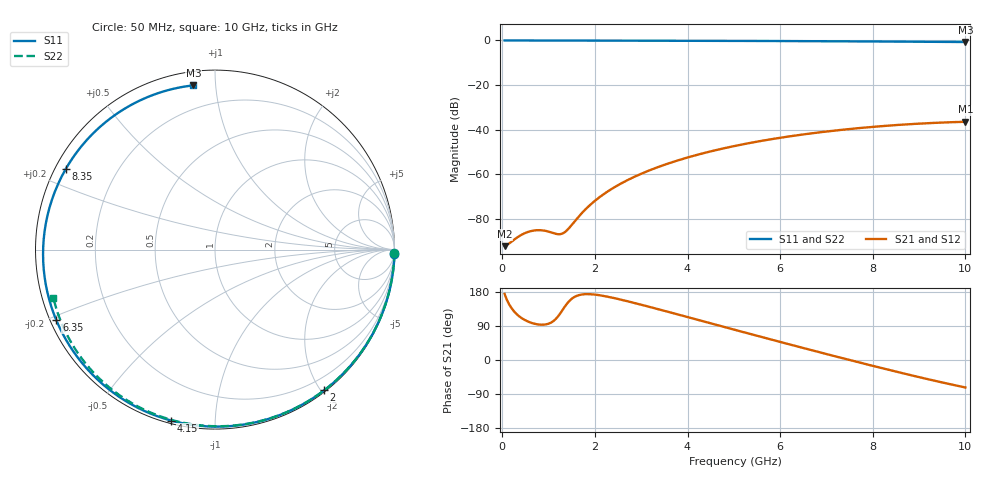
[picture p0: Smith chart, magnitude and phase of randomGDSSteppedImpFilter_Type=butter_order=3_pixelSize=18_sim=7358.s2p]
! freq	dB(S11)	phase(S11)	dB(S12)	phase(S12)
!  dB(S21)	phase(S21)	dB(S22)	phase(S22)
!S-par simulation data
#  GHz  S  DB  R 50
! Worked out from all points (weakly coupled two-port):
!   200 points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, 50 MHz to 10 GHz, reference 50 ohm
!   highest |S21| = -36.41 dB at 10 GHz (marker M1); lowest = -92.1 dB at 50 MHz (marker M2)
!   lowest |S11| = -0.7 dB at 10 GHz (marker M3), VSWR 24.92, Z = 3.55 + j43.7 ohm
!   |S11| at or under -10 dB: nowhere
!   |S22| runs from -0.5 to 0.0 dB; largest |S21 - S12| = 0
!   S11 on the Smith chart (normalised r, x): 50 MHz: 0, -86; 2 GHz: 0.02, -2.04; 4.15 GHz: 0.01, -0.78; 6.35 GHz: 0.02, -0.21; 8.35 GHz: 0.03, +0.25; 10 GHz: 0.07, +0.87
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0.05  -0.00 -1.3  -92.11 174.3  -92.11 174.3  -0.00 -1.0
0.8  -0.02 -21.3  -84.94 93.4  -84.94 93.4  -0.02 -15.2
1.6  -0.05 -42.0  -80.07 168.9  -80.07 168.9  -0.04 -30.1
1.75  -0.06 -45.9  -76.59 173.3  -76.59 173.3  -0.04 -32.9
2  -0.07 -52.2  -71.80 172.6  -71.80 172.6  -0.05 -37.5
2.3  -0.08 -59.7  -67.28 166.4  -67.28 166.4  -0.06 -42.9
2.6  -0.09 -67.2  -63.64 158.1  -63.64 158.1  -0.06 -48.3
2.95  -0.10 -75.8  -60.13 147.4  -60.13 147.4  -0.07 -54.5
3.4  -0.11 -86.6  -56.42 133.0  -56.42 133.0  -0.08 -62.3
4.15  -0.15 -104.4  -51.54 108.4  -51.54 108.4  -0.11 -74.9
5.05  -0.19 -125.4  -47.11 78.7  -47.11 78.7  -0.14 -89.5
5.7  -0.24 -140.5  -44.59 57.4  -44.59 57.4  -0.17 -99.7
6.35  -0.29 -156.0  -42.50 36.4  -42.50 36.4  -0.20 -109.7
6.7  -0.32 -164.5  -41.53 25.2  -41.53 25.2  -0.22 -114.9
7.15  -0.36 -175.8  -40.42 11.0  -40.42 11.0  -0.25 -121.6
7.55  -0.40 173.8  -39.55 -1.6  -39.55 -1.6  -0.29 -127.5
7.95  -0.45 162.9  -38.78 -13.9  -38.78 -13.9  -0.32 -133.3
8.35  -0.49 151.5  -38.11 -26.1  -38.11 -26.1  -0.35 -139.1
8.8  -0.55 137.9  -37.48 -39.4  -37.48 -39.4  -0.40 -145.7
9.25  -0.60 123.5  -36.98 -52.3  -36.98 -52.3  -0.45 -152.3
9.65  -0.65 109.9  -36.64 -63.3  -36.64 -63.3  -0.50 -158.2
10  -0.70 97.5  -36.41 -72.5  -36.41 -72.5  -0.54 -163.4
